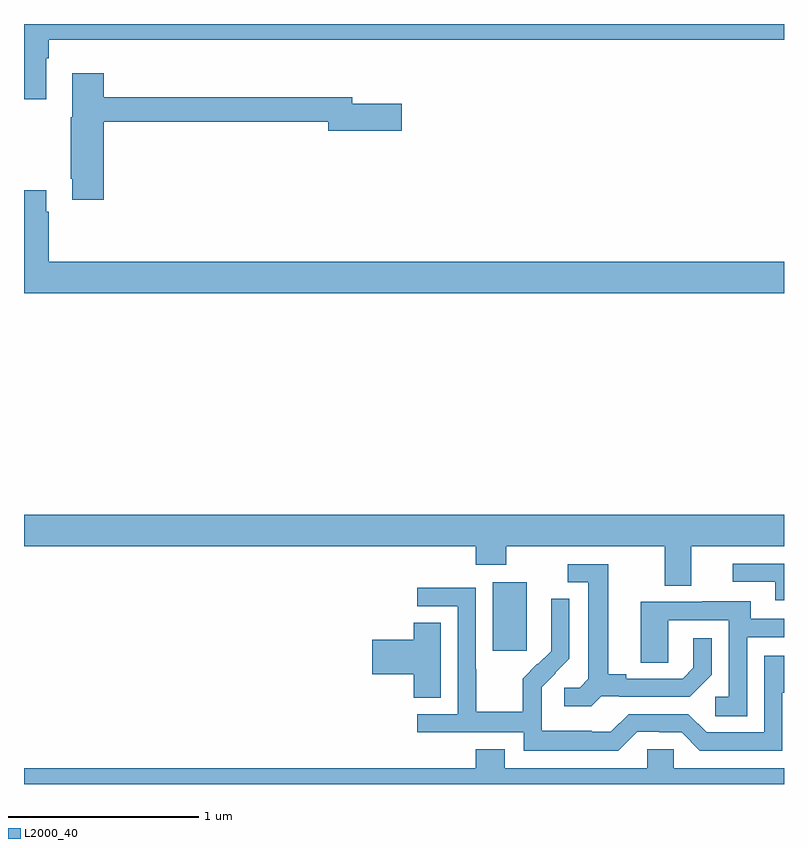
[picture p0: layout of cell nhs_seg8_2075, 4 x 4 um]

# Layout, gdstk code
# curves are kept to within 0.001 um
import gdstk
lib = gdstk.Library(unit=1e-6, precision=1e-09)
def R(c, l, rs):  # rectangles x0, y0, x1, y1
    for r in rs: c.add(gdstk.rectangle(r[:2], r[2:], *l))
def P(c, l, *ps):  # polygons
    for p in ps: c.add(gdstk.Polygon(p, *l))
L2000_40 = (2000, 40)

nhs_seg8_2075 = lib.new_cell('nhs_seg8_2075')
R(nhs_seg8_2075, L2000_40, [(243.467,1130.601,243.646,1130.962)])
P(nhs_seg8_2075, L2000_40, [(241.117,1133.72),(241.13,1133.72),(241.13,1133.816),(245,1133.816),(245,1133.9),(241,1133.9),(241,1133.505),(241.117,1133.505)],
  [(241.421,1133.386),(242.6,1133.386),(242.6,1133.339),(242.989,1133.339),(242.989,1133.481),(242.728,1133.481),(242.728,1133.515),(241.421,1133.515),(241.421,1133.641),(241.253,1133.641),(241.253,1133.409),(241.246,1133.409),(241.246,1133.086),(241.253,1133.086),(241.253,1132.974),(241.421,1132.974)],
  [(245,1132.648),(241.13,1132.648),(241.13,1132.913),(241.117,1132.913),(241.117,1133.026),(241,1133.026),(241,1132.484),(245,1132.484)],
  [(244.513,1131.152),(245,1131.152),(245,1131.316),(241,1131.316),(241,1131.152),(243.377,1131.152),(243.377,1131.053),(243.537,1131.053),(243.537,1131.152),(244.373,1131.152),(244.373,1130.944),(244.513,1130.944)],
  [(245,1131.06),(244.731,1131.06),(244.731,1130.964),(244.955,1130.964),(244.955,1130.868),(245,1130.868)],
  [(244.038,1130.361),(244.132,1130.361),(244.132,1130.358),(244.504,1130.358),(244.62,1130.474),(244.62,1130.668),(244.523,1130.668),(244.523,1130.511),(244.466,1130.454),(244.171,1130.454),(244.171,1130.477),(244.075,1130.477),(244.075,1131.057),(243.861,1131.057),(243.861,1130.961),(243.971,1130.961),(243.971,1130.453),(243.924,1130.406),(243.843,1130.406),(243.843,1130.309),(243.986,1130.309)],
  [(244.227,1130.175),(244.343,1130.175),(244.343,1130.172),(244.461,1130.172),(244.557,1130.076),(244.992,1130.076),(244.992,1130.381),(245,1130.381),(245,1130.574),(244.896,1130.574),(244.896,1130.172),(244.593,1130.172),(244.497,1130.268),(244.182,1130.268),(244.089,1130.175),(243.989,1130.175),(243.989,1130.179),(243.726,1130.179),(243.726,1130.313),(243.724,1130.313),(243.724,1130.41),(243.87,1130.558),(243.87,1130.876),(243.774,1130.876),(243.774,1130.722),(243.776,1130.722),(243.776,1130.6),(243.705,1130.529),(243.702,1130.532),(243.625,1130.455),(243.625,1130.281),(243.381,1130.281),(243.381,1130.504),(243.378,1130.504),(243.378,1130.934),(243.069,1130.934),(243.069,1130.835),(243.282,1130.835),(243.282,1130.268),(243.069,1130.268),(243.069,1130.172),(243.63,1130.172),(243.63,1130.075),(244.127,1130.075)],
  [(244.806,1130.673),(245,1130.673),(245,1130.769),(244.825,1130.769),(244.825,1130.863),(244.571,1130.863),(244.571,1130.859),(244.247,1130.859),(244.247,1130.539),(244.392,1130.539),(244.392,1130.763),(244.71,1130.763),(244.71,1130.358),(244.638,1130.358),(244.638,1130.257),(244.806,1130.257)],
  [(243.193,1130.75),(243.05,1130.75),(243.05,1130.66),(242.832,1130.66),(242.832,1130.477),(243.05,1130.477),(243.05,1130.353),(243.193,1130.353)],
  [(245,1129.984),(244.419,1129.984),(244.419,1130.082),(244.281,1130.082),(244.281,1129.984),(243.529,1129.984),(243.529,1130.083),(243.377,1130.083),(243.377,1129.984),(241,1129.984),(241,1129.9),(245,1129.9)])

lib.write_gds('nhs_seg8_2075.gds')
